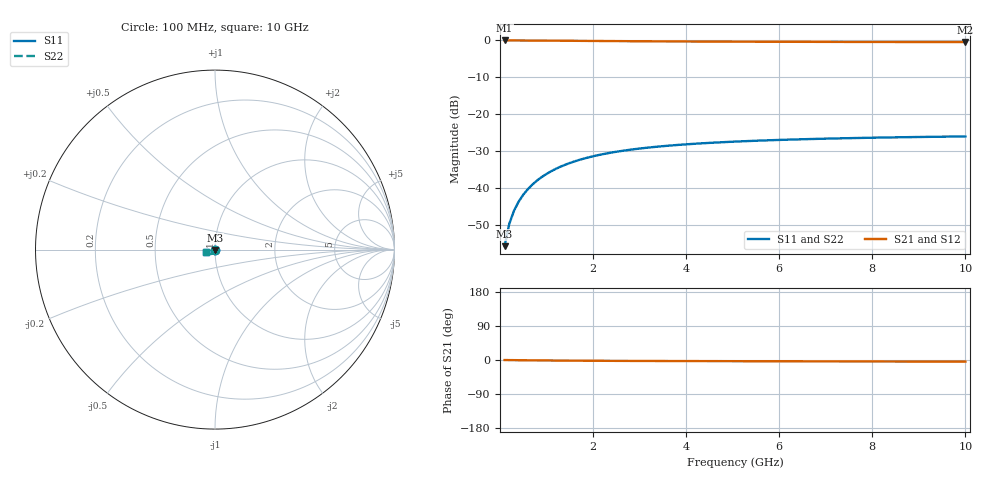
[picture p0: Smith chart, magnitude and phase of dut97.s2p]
! Touchstone file exported from HFSS 2024.1.0
!  File:  C:/UserFiles/LocalFiles/RDL_TSV_Batchsim/temp_TSV1_97_1778764776.aedt
!  Generated:  09:23:22 PM May 14, 2026
!  Design:  TSV1
!  Project:  temp_TSV1_97_1778764776
!  Setup:  Setup1
!  Solution:  Sweep
! Variables:
!  dtsv = 16.68um
!  hbump = 3um
!  htsv = 62.15um
!  lrdl = 252.1521522um
!  p = 40
!  p1 = 57.75um
!  t = 500um
!  trdl = 3um
!  wrdl = 24.89489489um
# GHz S MA R 50.000000
! Terminal data exported
! Port[1] = TSV22_T1
! Port[2] = TSV22_T2
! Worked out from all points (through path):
!   100 points, 100 MHz to 10 GHz, reference 50 ohm
!   highest |S21| = 0.00 dB at 100 MHz (marker M1); lowest = -0.4 dB at 10 GHz (marker M2)
!   lowest |S11| = -55.6 dB at 100 MHz (marker M3), VSWR 1.00, Z = 50 - j0.165 ohm
!   |S11| at or under -10 dB: start of sweep to end of sweep
!   |S22| runs from -55.6 to -26.0 dB; largest |S21 - S12| = 6.2e-15
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0.1  0.00165 -89.8  0.9999 -0.1  0.9999 -0.1  0.00165 -89.8
! Gamma 0 0 0 0
! Port Impedance 50 0 50 0
0.2  0.003303 -92.7  0.9997 -0.3  0.9997 -0.3  0.003303 -92.7
0.3  0.004949 -95.1  0.9994 -0.4  0.9994 -0.4  0.004949 -95.1
0.4  0.006578 -97.3  0.999 -0.5  0.999 -0.5  0.006578 -97.3
0.5  0.008181 -99.4  0.9984 -0.6  0.9984 -0.6  0.008181 -99.4
0.6  0.009754 -101.4  0.9978 -0.8  0.9978 -0.8  0.009754 -101.4
0.7  0.01129 -103.4  0.9971 -0.9  0.9971 -0.9  0.01129 -103.4
0.8  0.01279 -105.3  0.9964 -1.0  0.9964 -1.0  0.01279 -105.3
0.9  0.01425 -107.2  0.9956 -1.1  0.9956 -1.1  0.01425 -107.2
1.1  0.01702 -110.8  0.9937 -1.3  0.9937 -1.3  0.01702 -110.8
1.4  0.02082 -115.8  0.9908 -1.6  0.9908 -1.6  0.02082 -115.8
1.6  0.02311 -118.9  0.9887 -1.7  0.9887 -1.7  0.02311 -118.9
1.8  0.0252 -121.7  0.9866 -1.9  0.9866 -1.9  0.0252 -121.7
2.1  0.02802 -125.7  0.9836 -2.1  0.9836 -2.1  0.02802 -125.7
2.5  0.03122 -130.3  0.9798 -2.3  0.9798 -2.3  0.03122 -130.3
2.9  0.0339 -134.4  0.9763 -2.5  0.9763 -2.5  0.0339 -134.4
3.4  0.03667 -138.7  0.9725 -2.6  0.9725 -2.6  0.03667 -138.7
4.2  0.04011 -144.4  0.9674 -2.9  0.9674 -2.9  0.04011 -144.4
5.1  0.04297 -149.5  0.9629 -3.1  0.9629 -3.1  0.04297 -149.5
6.7  0.04645 -156.4  0.9573 -3.5  0.9573 -3.5  0.04645 -156.4
8.4  0.04882 -161.9  0.9533 -3.9  0.9533 -3.9  0.04882 -161.9
10  0.05033 -166.0  0.9507 -4.3  0.9507 -4.3  0.05033 -166.0
